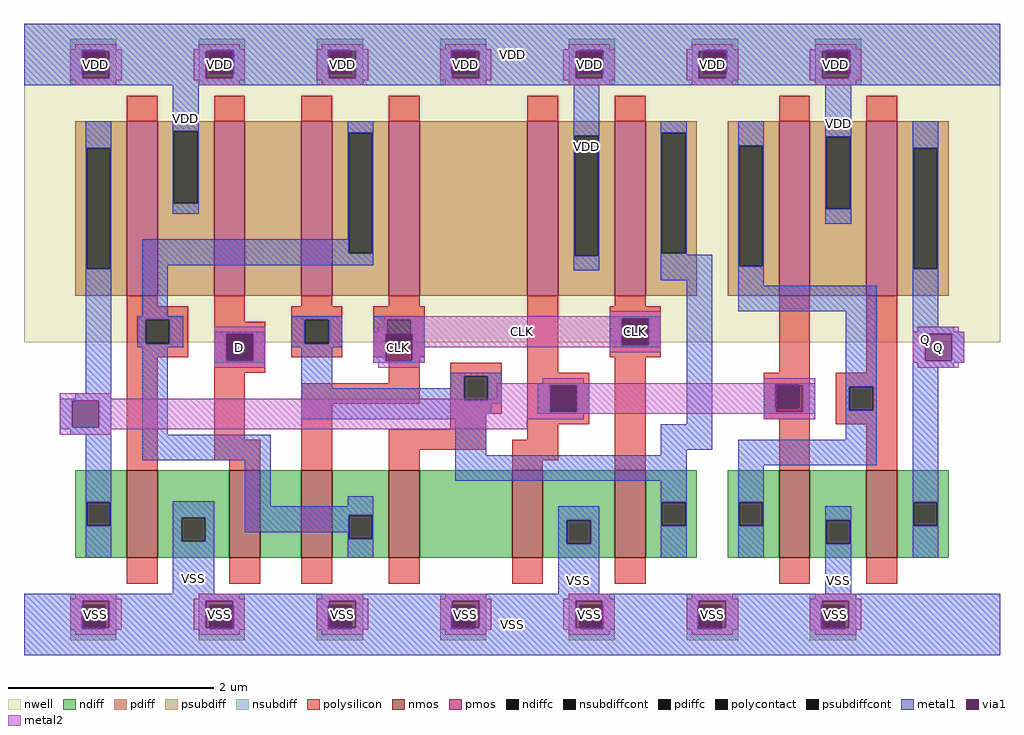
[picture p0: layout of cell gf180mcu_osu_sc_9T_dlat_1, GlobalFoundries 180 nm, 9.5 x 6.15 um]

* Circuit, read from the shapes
.subckt gf180mcu_osu_sc_9T_dlat_1 D Q CLK VDD VSS
XM1 VSS n1 n2 VSS nfet_03v3 w=0.85u l=0.3u
XM2 n3 D VSS VSS nfet_03v3 w=0.85u l=0.3u
XM3 n1 CLK n3 VSS nfet_03v3 w=0.85u l=0.3u
XM4 n4 n5 n1 VSS nfet_03v3 w=0.85u l=0.3u
XM5 VSS n2 n4 VSS nfet_03v3 w=0.85u l=0.3u
XM6 n5 CLK VSS VSS nfet_03v3 w=0.85u l=0.3u
XM7 VSS n2 n6 VSS nfet_03v3 w=0.85u l=0.3u
XM8 Q n6 VSS VSS nfet_03v3 w=0.85u l=0.3u
XM9 VDD n1 n2 VDD pfet_03v3 w=1.7u l=0.3u
XM10 n7 D VDD VDD pfet_03v3 w=1.7u l=0.3u
XM11 n1 n5 n7 VDD pfet_03v3 w=1.7u l=0.3u
XM12 n8 CLK n1 VDD pfet_03v3 w=1.7u l=0.3u
XM13 VDD n2 n8 VDD pfet_03v3 w=1.7u l=0.3u
XM14 n5 CLK VDD VDD pfet_03v3 w=1.7u l=0.3u
XM15 VDD n2 n6 VDD pfet_03v3 w=1.7u l=0.3u
XM16 Q n6 VDD VDD pfet_03v3 w=1.7u l=0.3u
.ends

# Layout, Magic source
magic
tech gf180mcuB
magscale 1 10
<< nwell >>
rect 0 610 1900 1230
<< nmos >>
rect 200 190 260 360
rect 400 190 460 360
rect 540 190 600 360
rect 710 190 770 360
rect 950 190 1010 360
rect 1150 190 1210 360
rect 1470 190 1530 360
rect 1640 190 1700 360
<< pmos >>
rect 200 700 260 1040
rect 370 700 430 1040
rect 540 700 600 1040
rect 710 700 770 1040
rect 980 700 1040 1040
rect 1150 700 1210 1040
rect 1470 700 1530 1040
rect 1640 700 1700 1040
<< ndiff >>
rect 100 298 200 360
rect 100 252 122 298
rect 168 252 200 298
rect 100 190 200 252
rect 260 268 400 360
rect 260 222 307 268
rect 353 222 400 268
rect 260 190 400 222
rect 460 190 540 360
rect 600 273 710 360
rect 600 227 632 273
rect 678 227 710 273
rect 600 190 710 227
rect 770 190 950 360
rect 1010 263 1150 360
rect 1010 217 1057 263
rect 1103 217 1150 263
rect 1010 190 1150 217
rect 1210 298 1310 360
rect 1210 252 1242 298
rect 1288 252 1310 298
rect 1210 190 1310 252
rect 1370 298 1470 360
rect 1370 252 1392 298
rect 1438 252 1470 298
rect 1370 190 1470 252
rect 1530 263 1640 360
rect 1530 217 1562 263
rect 1608 217 1640 263
rect 1530 190 1640 217
rect 1700 298 1800 360
rect 1700 252 1732 298
rect 1778 252 1800 298
rect 1700 190 1800 252
<< pdiff >>
rect 100 987 200 1040
rect 100 753 122 987
rect 168 753 200 987
rect 100 700 200 753
rect 260 1020 370 1040
rect 260 880 292 1020
rect 338 880 370 1020
rect 260 700 370 880
rect 430 700 540 1040
rect 600 1017 710 1040
rect 600 783 632 1017
rect 678 783 710 1017
rect 600 700 710 783
rect 770 700 980 1040
rect 1040 1012 1150 1040
rect 1040 778 1072 1012
rect 1118 778 1150 1012
rect 1040 700 1150 778
rect 1210 1017 1310 1040
rect 1210 783 1242 1017
rect 1288 783 1310 1017
rect 1210 700 1310 783
rect 1370 992 1470 1040
rect 1370 758 1392 992
rect 1438 758 1470 992
rect 1370 700 1470 758
rect 1530 1010 1640 1040
rect 1530 870 1562 1010
rect 1608 870 1640 1010
rect 1530 700 1640 870
rect 1700 987 1800 1040
rect 1700 753 1732 987
rect 1778 753 1800 987
rect 1700 700 1800 753
<< ndiffc >>
rect 122 252 168 298
rect 307 222 353 268
rect 632 227 678 273
rect 1057 217 1103 263
rect 1242 252 1288 298
rect 1392 252 1438 298
rect 1562 217 1608 263
rect 1732 252 1778 298
<< pdiffc >>
rect 122 753 168 987
rect 292 880 338 1020
rect 632 783 678 1017
rect 1072 778 1118 1012
rect 1242 783 1288 1017
rect 1392 758 1438 992
rect 1562 870 1608 1010
rect 1732 753 1778 987
<< psubdiff >>
rect 90 98 180 120
rect 90 52 112 98
rect 158 52 180 98
rect 90 30 180 52
rect 340 98 430 120
rect 340 52 362 98
rect 408 52 430 98
rect 340 30 430 52
rect 570 98 660 120
rect 570 52 592 98
rect 638 52 660 98
rect 570 30 660 52
rect 810 98 900 120
rect 810 52 832 98
rect 878 52 900 98
rect 810 30 900 52
rect 1060 98 1150 120
rect 1060 52 1082 98
rect 1128 52 1150 98
rect 1060 30 1150 52
rect 1290 98 1390 120
rect 1290 52 1312 98
rect 1358 52 1390 98
rect 1290 30 1390 52
rect 1530 98 1620 120
rect 1530 52 1552 98
rect 1598 52 1620 98
rect 1530 30 1620 52
<< nsubdiff >>
rect 90 1178 180 1200
rect 90 1132 112 1178
rect 158 1132 180 1178
rect 90 1110 180 1132
rect 340 1178 430 1200
rect 340 1132 362 1178
rect 408 1132 430 1178
rect 340 1110 430 1132
rect 570 1178 660 1200
rect 570 1132 592 1178
rect 638 1132 660 1178
rect 570 1110 660 1132
rect 810 1178 900 1200
rect 810 1132 832 1178
rect 878 1132 900 1178
rect 810 1110 900 1132
rect 1060 1178 1150 1200
rect 1060 1132 1082 1178
rect 1128 1132 1150 1178
rect 1060 1110 1150 1132
rect 1300 1178 1390 1200
rect 1300 1132 1322 1178
rect 1368 1132 1390 1178
rect 1300 1110 1390 1132
rect 1540 1178 1630 1200
rect 1540 1132 1562 1178
rect 1608 1132 1630 1178
rect 1540 1110 1630 1132
<< psubdiffcont >>
rect 112 52 158 98
rect 362 52 408 98
rect 592 52 638 98
rect 832 52 878 98
rect 1082 52 1128 98
rect 1312 52 1358 98
rect 1552 52 1598 98
<< nsubdiffcont >>
rect 112 1132 158 1178
rect 362 1132 408 1178
rect 592 1132 638 1178
rect 832 1132 878 1178
rect 1082 1132 1128 1178
rect 1322 1132 1368 1178
rect 1562 1132 1608 1178
<< polysilicon >>
rect 200 1040 260 1090
rect 370 1040 430 1090
rect 540 1040 600 1090
rect 710 1040 770 1090
rect 980 1040 1040 1090
rect 1150 1040 1210 1090
rect 1470 1040 1530 1090
rect 1640 1040 1700 1090
rect 200 680 260 700
rect 200 653 320 680
rect 200 607 237 653
rect 283 607 320 653
rect 200 580 320 607
rect 370 650 430 700
rect 540 680 600 700
rect 710 680 770 700
rect 520 653 620 680
rect 370 623 470 650
rect 200 360 260 580
rect 370 577 397 623
rect 443 577 470 623
rect 520 607 547 653
rect 593 607 620 653
rect 520 580 620 607
rect 680 653 780 680
rect 680 607 707 653
rect 753 607 780 653
rect 680 580 780 607
rect 370 550 470 577
rect 370 420 430 550
rect 710 530 770 580
rect 540 490 770 530
rect 830 543 930 570
rect 830 497 857 543
rect 903 497 930 543
rect 370 380 460 420
rect 400 360 460 380
rect 540 360 600 490
rect 830 470 930 497
rect 980 550 1040 700
rect 1150 680 1210 700
rect 1140 653 1240 680
rect 1140 607 1167 653
rect 1213 607 1240 653
rect 1140 580 1240 607
rect 980 523 1100 550
rect 980 477 1027 523
rect 1073 477 1100 523
rect 830 440 900 470
rect 710 400 900 440
rect 980 450 1100 477
rect 980 420 1040 450
rect 710 360 770 400
rect 950 380 1040 420
rect 950 360 1010 380
rect 1150 360 1210 580
rect 1470 550 1530 700
rect 1640 550 1700 700
rect 1440 528 1530 550
rect 1440 482 1462 528
rect 1508 482 1530 528
rect 1440 460 1530 482
rect 1470 360 1530 460
rect 1580 523 1700 550
rect 1580 477 1607 523
rect 1653 477 1700 523
rect 1580 450 1700 477
rect 1640 360 1700 450
rect 200 140 260 190
rect 400 140 460 190
rect 540 140 600 190
rect 710 140 770 190
rect 950 140 1010 190
rect 1150 140 1210 190
rect 1470 140 1530 190
rect 1640 140 1700 190
<< polycontact >>
rect 237 607 283 653
rect 397 577 443 623
rect 547 607 593 653
rect 707 607 753 653
rect 857 497 903 543
rect 1167 607 1213 653
rect 1027 477 1073 523
rect 1462 482 1508 528
rect 1607 477 1653 523
<< metal1 >>
rect 0 1178 1900 1230
rect 0 1132 112 1178
rect 158 1176 362 1178
rect 0 1124 114 1132
rect 166 1124 354 1176
rect 408 1132 592 1178
rect 638 1176 832 1178
rect 878 1176 1082 1178
rect 1128 1176 1322 1178
rect 1368 1176 1562 1178
rect 646 1132 832 1176
rect 406 1124 594 1132
rect 646 1124 834 1132
rect 886 1124 1074 1176
rect 1128 1132 1314 1176
rect 1368 1132 1554 1176
rect 1608 1132 1900 1178
rect 1126 1124 1314 1132
rect 1366 1124 1554 1132
rect 1606 1124 1900 1132
rect 0 1110 1900 1124
rect 120 987 170 1040
rect 120 753 122 987
rect 168 753 170 987
rect 290 1020 340 1110
rect 290 880 292 1020
rect 338 880 340 1020
rect 290 860 340 880
rect 630 1017 680 1040
rect 630 810 632 1017
rect 120 510 170 753
rect 230 783 632 810
rect 678 783 680 1017
rect 230 760 680 783
rect 1070 1012 1120 1110
rect 1070 778 1072 1012
rect 1118 778 1120 1012
rect 230 660 280 760
rect 1070 750 1120 778
rect 1240 1017 1290 1040
rect 1240 783 1242 1017
rect 1288 783 1290 1017
rect 1240 780 1290 783
rect 1390 992 1440 1040
rect 1240 730 1340 780
rect 220 653 310 660
rect 220 607 237 653
rect 283 607 310 653
rect 520 653 620 660
rect 220 600 310 607
rect 370 626 470 630
rect 100 500 170 510
rect 70 496 170 500
rect 70 444 94 496
rect 146 444 170 496
rect 70 440 170 444
rect 90 430 170 440
rect 120 298 170 430
rect 230 430 280 600
rect 370 574 394 626
rect 446 574 470 626
rect 520 607 547 653
rect 593 607 620 653
rect 520 600 620 607
rect 680 653 780 660
rect 680 626 707 653
rect 753 626 780 653
rect 370 570 470 574
rect 540 520 600 600
rect 680 574 704 626
rect 756 574 780 626
rect 1140 656 1240 660
rect 1140 604 1164 656
rect 1216 604 1240 656
rect 1140 600 1240 604
rect 680 570 780 574
rect 830 543 930 550
rect 830 520 857 543
rect 540 497 857 520
rect 903 497 930 543
rect 540 490 930 497
rect 1000 526 1100 530
rect 540 470 910 490
rect 1000 474 1024 526
rect 1076 474 1100 526
rect 1000 470 1100 474
rect 540 460 900 470
rect 230 380 480 430
rect 120 252 122 298
rect 168 252 170 298
rect 120 190 170 252
rect 290 268 370 300
rect 290 222 307 268
rect 353 222 370 268
rect 430 290 480 380
rect 840 390 900 460
rect 1290 450 1340 730
rect 1390 758 1392 992
rect 1438 758 1440 992
rect 1560 1010 1610 1110
rect 1560 870 1562 1010
rect 1608 870 1610 1010
rect 1560 840 1610 870
rect 1730 987 1780 1040
rect 1390 720 1440 758
rect 1730 753 1732 987
rect 1778 753 1780 987
rect 1390 670 1660 720
rect 1440 528 1540 530
rect 1440 482 1462 528
rect 1508 526 1540 528
rect 1440 474 1464 482
rect 1516 474 1540 526
rect 1440 470 1540 474
rect 1600 523 1660 670
rect 1600 477 1607 523
rect 1653 477 1660 523
rect 1240 400 1340 450
rect 1600 420 1660 477
rect 1240 390 1290 400
rect 840 340 1290 390
rect 630 290 680 310
rect 1240 298 1290 340
rect 430 273 680 290
rect 430 240 632 273
rect 290 120 370 222
rect 630 227 632 240
rect 678 227 680 273
rect 630 190 680 227
rect 1040 263 1120 290
rect 1040 217 1057 263
rect 1103 217 1120 263
rect 1040 120 1120 217
rect 1240 252 1242 298
rect 1288 252 1290 298
rect 1240 190 1290 252
rect 1390 370 1660 420
rect 1730 640 1780 753
rect 1730 630 1810 640
rect 1730 626 1830 630
rect 1730 574 1754 626
rect 1806 574 1830 626
rect 1730 570 1830 574
rect 1730 560 1810 570
rect 1390 298 1440 370
rect 1390 252 1392 298
rect 1438 252 1440 298
rect 1730 298 1780 560
rect 1390 190 1440 252
rect 1560 263 1610 290
rect 1560 217 1562 263
rect 1608 217 1610 263
rect 1560 120 1610 217
rect 1730 252 1732 298
rect 1778 252 1780 298
rect 1730 190 1780 252
rect 0 106 1900 120
rect 0 98 114 106
rect 0 52 112 98
rect 166 54 354 106
rect 406 98 594 106
rect 646 98 834 106
rect 158 52 362 54
rect 408 52 592 98
rect 646 54 832 98
rect 886 54 1074 106
rect 1126 98 1314 106
rect 1366 98 1554 106
rect 638 52 832 54
rect 878 52 1082 54
rect 1128 52 1312 98
rect 1366 54 1552 98
rect 1606 54 1900 106
rect 1358 52 1552 54
rect 1598 52 1900 54
rect 0 0 1900 52
<< via1 >>
rect 114 1132 158 1176
rect 158 1132 166 1176
rect 114 1124 166 1132
rect 354 1132 362 1176
rect 362 1132 406 1176
rect 594 1132 638 1176
rect 638 1132 646 1176
rect 834 1132 878 1176
rect 878 1132 886 1176
rect 354 1124 406 1132
rect 594 1124 646 1132
rect 834 1124 886 1132
rect 1074 1132 1082 1176
rect 1082 1132 1126 1176
rect 1314 1132 1322 1176
rect 1322 1132 1366 1176
rect 1554 1132 1562 1176
rect 1562 1132 1606 1176
rect 1074 1124 1126 1132
rect 1314 1124 1366 1132
rect 1554 1124 1606 1132
rect 94 444 146 496
rect 394 623 446 626
rect 394 577 397 623
rect 397 577 443 623
rect 443 577 446 623
rect 394 574 446 577
rect 704 607 707 626
rect 707 607 753 626
rect 753 607 756 626
rect 704 574 756 607
rect 1164 653 1216 656
rect 1164 607 1167 653
rect 1167 607 1213 653
rect 1213 607 1216 653
rect 1164 604 1216 607
rect 1024 523 1076 526
rect 1024 477 1027 523
rect 1027 477 1073 523
rect 1073 477 1076 523
rect 1024 474 1076 477
rect 1464 482 1508 526
rect 1508 482 1516 526
rect 1464 474 1516 482
rect 1754 574 1806 626
rect 114 98 166 106
rect 114 54 158 98
rect 158 54 166 98
rect 354 98 406 106
rect 594 98 646 106
rect 834 98 886 106
rect 354 54 362 98
rect 362 54 406 98
rect 594 54 638 98
rect 638 54 646 98
rect 834 54 878 98
rect 878 54 886 98
rect 1074 98 1126 106
rect 1314 98 1366 106
rect 1554 98 1606 106
rect 1074 54 1082 98
rect 1082 54 1126 98
rect 1314 54 1358 98
rect 1358 54 1366 98
rect 1554 54 1598 98
rect 1598 54 1606 98
<< metal2 >>
rect 100 1180 180 1190
rect 340 1180 420 1190
rect 580 1180 660 1190
rect 820 1180 900 1190
rect 1060 1180 1140 1190
rect 1300 1180 1380 1190
rect 1540 1180 1620 1190
rect 90 1176 190 1180
rect 90 1124 114 1176
rect 166 1124 190 1176
rect 90 1120 190 1124
rect 330 1176 430 1180
rect 330 1124 354 1176
rect 406 1124 430 1176
rect 330 1120 430 1124
rect 570 1176 670 1180
rect 570 1124 594 1176
rect 646 1124 670 1176
rect 570 1120 670 1124
rect 810 1176 910 1180
rect 810 1124 834 1176
rect 886 1124 910 1176
rect 810 1120 910 1124
rect 1050 1176 1150 1180
rect 1050 1124 1074 1176
rect 1126 1124 1150 1176
rect 1050 1120 1150 1124
rect 1290 1176 1390 1180
rect 1290 1124 1314 1176
rect 1366 1124 1390 1176
rect 1290 1120 1390 1124
rect 1530 1176 1630 1180
rect 1530 1124 1554 1176
rect 1606 1124 1630 1176
rect 1530 1120 1630 1124
rect 100 1110 180 1120
rect 340 1110 420 1120
rect 580 1110 660 1120
rect 820 1110 900 1120
rect 1060 1110 1140 1120
rect 1300 1110 1380 1120
rect 1540 1110 1620 1120
rect 1140 660 1240 670
rect 700 656 1240 660
rect 700 640 1164 656
rect 370 626 470 640
rect 690 630 1164 640
rect 370 574 394 626
rect 446 574 470 626
rect 370 560 470 574
rect 680 626 1164 630
rect 680 574 704 626
rect 756 604 1164 626
rect 1216 604 1240 656
rect 1740 630 1820 640
rect 756 600 1240 604
rect 756 574 780 600
rect 1140 590 1240 600
rect 1730 626 1830 630
rect 680 570 780 574
rect 1730 574 1754 626
rect 1806 574 1830 626
rect 1730 570 1830 574
rect 690 560 770 570
rect 1740 560 1820 570
rect 1010 530 1090 540
rect 1440 530 1540 540
rect 920 526 1540 530
rect 70 500 170 510
rect 920 500 1024 526
rect 70 496 1024 500
rect 70 444 94 496
rect 146 474 1024 496
rect 1076 474 1464 526
rect 1516 474 1540 526
rect 146 470 1540 474
rect 146 460 1090 470
rect 1440 460 1540 470
rect 146 444 980 460
rect 70 440 980 444
rect 70 430 170 440
rect 100 110 180 120
rect 340 110 420 120
rect 580 110 660 120
rect 820 110 900 120
rect 1060 110 1140 120
rect 1300 110 1380 120
rect 1540 110 1620 120
rect 90 106 190 110
rect 90 54 114 106
rect 166 54 190 106
rect 90 50 190 54
rect 330 106 430 110
rect 330 54 354 106
rect 406 54 430 106
rect 330 50 430 54
rect 570 106 670 110
rect 570 54 594 106
rect 646 54 670 106
rect 570 50 670 54
rect 810 106 910 110
rect 810 54 834 106
rect 886 54 910 106
rect 810 50 910 54
rect 1050 106 1150 110
rect 1050 54 1074 106
rect 1126 54 1150 106
rect 1050 50 1150 54
rect 1290 106 1390 110
rect 1290 54 1314 106
rect 1366 54 1390 106
rect 1290 50 1390 54
rect 1530 106 1630 110
rect 1530 54 1554 106
rect 1606 54 1630 106
rect 1530 50 1630 54
rect 100 40 180 50
rect 340 40 420 50
rect 580 40 660 50
rect 820 40 900 50
rect 1060 40 1140 50
rect 1300 40 1380 50
rect 1540 40 1620 50
<< labels >>
rlabel metal2 s 100 1110 180 1190 4 VDD
port 8 nsew power bidirectional abutment
rlabel metal2 s 100 40 180 120 4 VSS
port 9 nsew ground bidirectional
rlabel metal2 s 370 560 470 640 4 D
port 1 nsew signal input
rlabel metal2 s 1740 560 1820 640 4 Q
port 2 nsew signal output
rlabel metal2 s 690 560 770 640 4 CLK
port 3 nsew clock input
rlabel metal2 s 680 570 780 630 1 CLK
port 3 nsew clock input
rlabel metal2 s 700 600 1240 660 1 CLK
port 3 nsew clock input
rlabel metal2 s 1140 590 1240 670 1 CLK
port 3 nsew clock input
rlabel metal1 s 680 570 780 660 1 CLK
port 3 nsew clock input
rlabel metal1 s 1140 600 1240 660 1 CLK
port 3 nsew clock input
rlabel metal1 s 370 570 470 630 1 D
port 1 nsew signal input
rlabel metal2 s 1730 570 1830 630 1 Q
port 2 nsew signal output
rlabel metal1 s 1730 190 1780 1040 1 Q
port 2 nsew signal output
rlabel metal1 s 1730 560 1810 640 1 Q
port 2 nsew signal output
rlabel metal1 s 1730 570 1830 630 1 Q
port 2 nsew signal output
rlabel metal2 s 90 1120 190 1180 1 VDD
port 8 nsew power bidirectional abutment
rlabel metal2 s 340 1110 420 1190 1 VDD
port 8 nsew power bidirectional abutment
rlabel metal2 s 330 1120 430 1180 1 VDD
port 8 nsew power bidirectional abutment
rlabel metal2 s 580 1110 660 1190 1 VDD
port 8 nsew power bidirectional abutment
rlabel metal2 s 570 1120 670 1180 1 VDD
port 8 nsew power bidirectional abutment
rlabel metal2 s 820 1110 900 1190 1 VDD
port 8 nsew power bidirectional abutment
rlabel metal2 s 810 1120 910 1180 1 VDD
port 8 nsew power bidirectional abutment
rlabel metal2 s 1060 1110 1140 1190 1 VDD
port 8 nsew power bidirectional abutment
rlabel metal2 s 1050 1120 1150 1180 1 VDD
port 8 nsew power bidirectional abutment
rlabel metal2 s 1300 1110 1380 1190 1 VDD
port 8 nsew power bidirectional abutment
rlabel metal2 s 1290 1120 1390 1180 1 VDD
port 8 nsew power bidirectional abutment
rlabel metal2 s 1540 1110 1620 1190 1 VDD
port 8 nsew power bidirectional abutment
rlabel metal2 s 1530 1120 1630 1180 1 VDD
port 8 nsew power bidirectional abutment
rlabel metal1 s 290 860 340 1230 1 VDD
port 8 nsew power bidirectional abutment
rlabel metal1 s 1070 750 1120 1230 1 VDD
port 8 nsew power bidirectional abutment
rlabel metal1 s 1560 840 1610 1230 1 VDD
port 8 nsew power bidirectional abutment
rlabel metal1 s 0 1110 1900 1230 1 VDD
port 8 nsew power bidirectional abutment
rlabel metal2 s 90 50 190 110 1 VSS
port 9 nsew ground bidirectional
rlabel metal2 s 340 40 420 120 1 VSS
port 9 nsew ground bidirectional
rlabel metal2 s 330 50 430 110 1 VSS
port 9 nsew ground bidirectional
rlabel metal2 s 580 40 660 120 1 VSS
port 9 nsew ground bidirectional
rlabel metal2 s 570 50 670 110 1 VSS
port 9 nsew ground bidirectional
rlabel metal2 s 820 40 900 120 1 VSS
port 9 nsew ground bidirectional
rlabel metal2 s 810 50 910 110 1 VSS
port 9 nsew ground bidirectional
rlabel metal2 s 1060 40 1140 120 1 VSS
port 9 nsew ground bidirectional
rlabel metal2 s 1050 50 1150 110 1 VSS
port 9 nsew ground bidirectional
rlabel metal2 s 1300 40 1380 120 1 VSS
port 9 nsew ground bidirectional
rlabel metal2 s 1290 50 1390 110 1 VSS
port 9 nsew ground bidirectional
rlabel metal2 s 1540 40 1620 120 1 VSS
port 9 nsew ground bidirectional
rlabel metal2 s 1530 50 1630 110 1 VSS
port 9 nsew ground bidirectional
rlabel metal1 s 290 0 370 300 1 VSS
port 9 nsew ground bidirectional
rlabel metal1 s 1040 0 1120 290 1 VSS
port 9 nsew ground bidirectional
rlabel metal1 s 1560 0 1610 290 1 VSS
port 9 nsew ground bidirectional
rlabel metal1 s 0 0 1900 120 1 VSS
port 9 nsew ground bidirectional
<< properties >>
string FIXED_BBOX 0 0 1900 1230
string GDS_END 334522
string GDS_FILE $PDKPATH/libs.ref/gf180mcu_osu_sc_9T/gds/gf180mcu_osu_sc_9T.gds
string GDS_START 316786
string LEFclass CORE
string LEFsite GF018hv5v_mcu_sc7
string LEFsymmetry X Y
<< end >>
